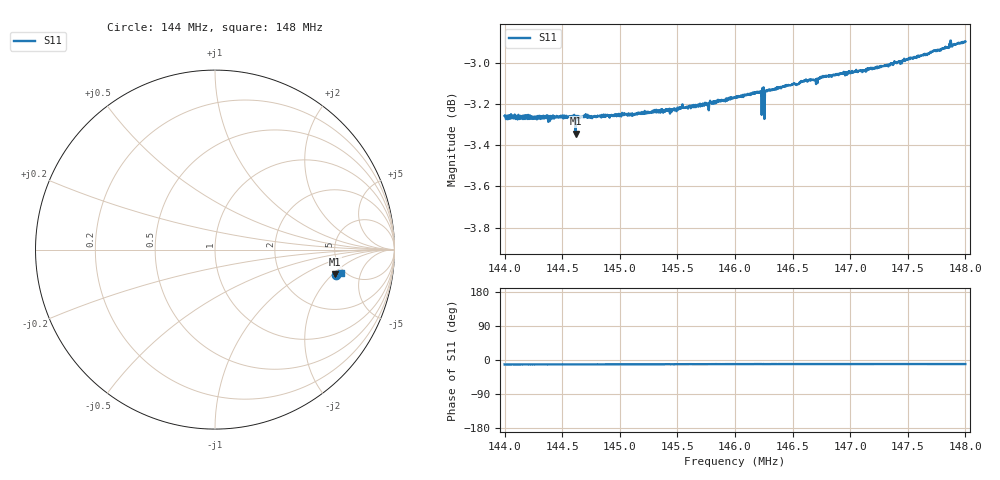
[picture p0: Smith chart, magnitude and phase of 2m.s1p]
! Calibrated averaged scanner-service zoom
# Hz S RI R 50
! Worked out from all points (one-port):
!   1001 points, 144 MHz to 148 MHz, reference 50 ohm
!   lowest |S11| = -3.3 dB at 144.62 MHz (marker M1), VSWR 5.26, Z = 207 - j105 ohm
!   |S11| at or under -10 dB: nowhere
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1.44e8  0.673 -0.1397
1.44304e8  0.6729 -0.1403
1.44396e8  0.672 -0.137
1.445e8  0.6727 -0.1379
1.44584e8  0.6731 -0.1377
1.44616e8  0.6666 -0.1369
1.44688e8  0.6732 -0.1389
1.45e8  0.6741 -0.1359
1.455e8  0.6774 -0.1335
1.4576e8  0.6787 -0.1315
1.46e8  0.6819 -0.1302
1.46208e8  0.6843 -0.1305
1.46212e8  0.6843 -0.1299
1.46232e8  0.6757 -0.1277
1.46236e8  0.6855 -0.1318
1.4624e8  0.6837 -0.13
1.46276e8  0.6846 -0.1299
1.4628e8  0.685 -0.1302
1.465e8  0.6873 -0.1306
1.46628e8  0.6885 -0.1298
1.46704e8  0.6874 -0.1303
1.4676e8  0.6903 -0.1303
1.47e8  0.6921 -0.1305
1.47124e8  0.6927 -0.1315
1.475e8  0.6975 -0.1303
1.47828e8  0.7023 -0.1314
1.4788e8  0.7026 -0.1315
1.48e8  0.7041 -0.1329
